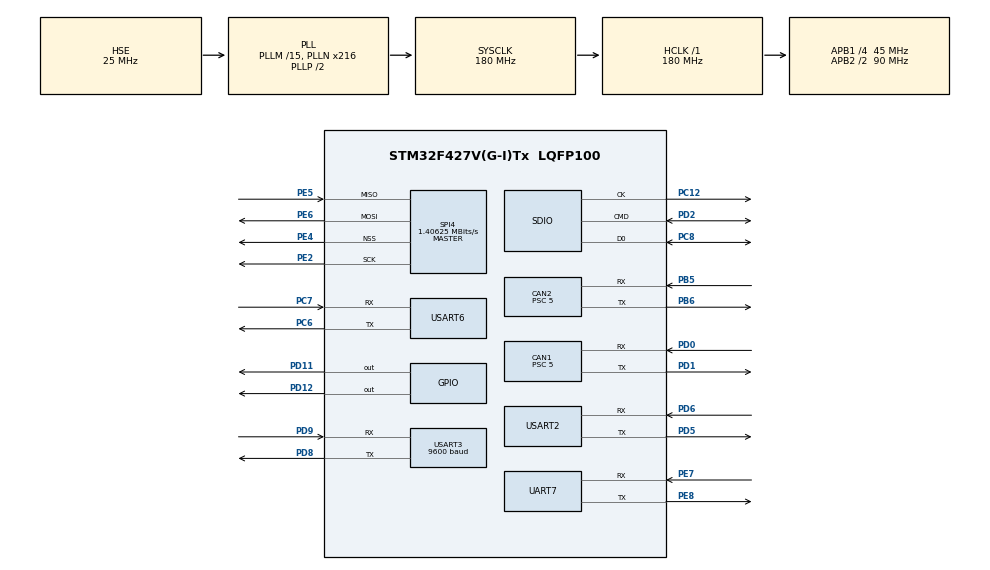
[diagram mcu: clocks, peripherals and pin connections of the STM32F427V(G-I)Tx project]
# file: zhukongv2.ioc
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CAN1.BS1=CAN_BS1_7TQ
CAN1.CalculateBaudRate=1000000
CAN1.CalculateTimeBit=1000
CAN1.CalculateTimeQuantum=111.11111111111111
CAN1.Prescaler=5
CAN1.RFLM=DISABLE
CAN2.BS1=CAN_BS1_7TQ
CAN2.CalculateBaudRate=1000000
CAN2.CalculateTimeBit=1000
CAN2.CalculateTimeQuantum=111.11111111111111
CAN2.Prescaler=5
CAN2.RFLM=DISABLE
Dma.Request0=USART6_RX
Dma.Request1=USART3_RX
Dma.USART3_RX.1.Direction=DMA_PERIPH_TO_MEMORY
Dma.USART3_RX.1.FIFOMode=DMA_FIFOMODE_DISABLE
Dma.USART3_RX.1.Instance=DMA1_Stream1
Dma.USART3_RX.1.MemDataAlignment=DMA_MDATAALIGN_BYTE
Dma.USART3_RX.1.MemInc=DMA_MINC_ENABLE
Dma.USART3_RX.1.Mode=DMA_CIRCULAR
Dma.USART3_RX.1.PeriphDataAlignment=DMA_PDATAALIGN_BYTE
Dma.USART3_RX.1.PeriphInc=DMA_PINC_DISABLE
Dma.USART3_RX.1.Priority=DMA_PRIORITY_LOW
Dma.USART6_RX.0.Direction=DMA_PERIPH_TO_MEMORY
Dma.USART6_RX.0.FIFOMode=DMA_FIFOMODE_DISABLE
Dma.USART6_RX.0.Instance=DMA2_Stream1
Dma.USART6_RX.0.MemDataAlignment=DMA_MDATAALIGN_BYTE
Dma.USART6_RX.0.MemInc=DMA_MINC_ENABLE
Dma.USART6_RX.0.Mode=DMA_CIRCULAR
Dma.USART6_RX.0.PeriphDataAlignment=DMA_PDATAALIGN_BYTE
Dma.USART6_RX.0.PeriphInc=DMA_PINC_DISABLE
Dma.USART6_RX.0.Priority=DMA_PRIORITY_LOW
FATFS._CODE_PAGE=936
FATFS._MAX_SS=4096
FATFS._USE_CHMOD=1
FATFS._USE_EXPAND=1
FATFS._USE_FIND=1
FATFS._USE_FORWARD=1
FATFS._USE_LABEL=1
FATFS._USE_LFN=2
FATFS._VOLUMES=2
FREERTOS.Tasks01=defaultTask,8,128,StartDefaultTask,Default,NULL,Dynamic,NULL,NULL;TrotForward,24,256,TrotForwardTask,Default,NULL,Dynamic,NULL,NULL;TrotBack,24,256,TrotBackTask,Default,NULL,Dynamic,NULL,NULL;RotateLeft,24,256,RotateLeftTask,Default,NULL,Dynamic,NULL,NULL;RotateRight,24,256,RotateRightTask,Default,NULL,Dynamic,NULL,NULL;TurnLeft,32,256,TurnLeftTask,Default,NULL,Dynamic,NULL,NULL;TurnRight,24,256,TurnRightTask,Default,NULL,Dynamic,NULL,NULL;JumpUp,24,256,JumpUpTask,Default,NULL,Dynamic,NULL,NULL;JumpForward,24,256,JumpForwardTask,Default,NULL,Dynamic,NULL,NULL;WalkSlope,24,512,WalkSlopeTask,Default,NULL,Dynamic,NULL,NULL;WalkSlope_LR,24,512,WalkSlopeLRTask,Default,NULL,Dynamic,NULL,NULL;Stand,24,128,StandTask,Default,NULL,Dynamic,NULL,NULL;ParseHandle,32,128,ParseHandleTask,Default,NULL,Dynamic,NULL,NULL;ParseIMU,32,128,ParseIMUTask,Default,NULL,Dynamic,NULL,NULL;ParseCamera,32,128,ParseCameraTask,Default,NULL,Dynamic,NULL,NULL
FREERTOS.configCHECK_FOR_STACK_OVERFLOW=2
FREERTOS.configTOTAL_HEAP_SIZE=20000
Mcu.Family=STM32F4
Mcu.Name=STM32F427V(G-I)Tx
Mcu.Package=LQFP100
NVIC.CAN1_RX0_IRQn=true\:5\:0\:false\:false\:true\:true\:true\:true\:true
NVIC.CAN1_RX1_IRQn=true\:5\:0\:false\:false\:true\:true\:true\:true\:true
NVIC.CAN2_RX0_IRQn=true\:5\:0\:false\:false\:true\:true\:true\:true\:true
NVIC.CAN2_RX1_IRQn=true\:5\:0\:false\:false\:true\:true\:true\:true\:true
NVIC.DMA1_Stream1_IRQn=true\:5\:0\:false\:false\:true\:true\:false\:true\:true
NVIC.DMA2_Stream1_IRQn=true\:5\:0\:false\:false\:true\:true\:false\:true\:true
NVIC.PriorityGroup=NVIC_PRIORITYGROUP_4
NVIC.SDIO_IRQn=true\:5\:0\:false\:false\:true\:true\:true\:true\:true
NVIC.SPI4_IRQn=true\:5\:0\:false\:false\:true\:true\:true\:true\:true
NVIC.TIM2_IRQn=true\:5\:0\:true\:false\:true\:true\:true\:true\:true
NVIC.USART2_IRQn=true\:5\:0\:false\:false\:true\:true\:true\:true\:true
NVIC.USART3_IRQn=true\:5\:0\:false\:false\:true\:true\:true\:true\:true
NVIC.USART6_IRQn=true\:5\:0\:false\:false\:true\:true\:true\:true\:true
PA13.Mode=Serial_Wire
PA13.Signal=SYS_JTMS-SWDIO
PA14.Mode=Serial_Wire
PA14.Signal=SYS_JTCK-SWCLK
PB5.GPIO_PuPd=GPIO_NOPULL
PB5.Mode=CAN_Activate
PB5.Signal=CAN2_RX
PB6.GPIO_PuPd=GPIO_NOPULL
PB6.Mode=CAN_Activate
PB6.Signal=CAN2_TX
PC12.Mode=SD_1_bit
PC12.Signal=SDIO_CK
PC6.Mode=Asynchronous
PC6.Signal=USART6_TX
PC7.Mode=Asynchronous
PC7.Signal=USART6_RX
PC8.Mode=SD_1_bit
PC8.Signal=SDIO_D0
PD0.GPIO_PuPd=GPIO_NOPULL
PD0.Mode=CAN_Activate
PD0.Signal=CAN1_RX
PD1.GPIO_PuPd=GPIO_NOPULL
PD1.Mode=CAN_Activate
PD1.Signal=CAN1_TX
PD11.GPIO_PuPd=GPIO_PULLDOWN
PD11.Signal=GPIO_Output
PD12.GPIO_PuPd=GPIO_PULLDOWN
PD12.Signal=GPIO_Output
PD2.Mode=SD_1_bit
PD2.Signal=SDIO_CMD
PD5.Mode=Asynchronous
PD5.Signal=USART2_TX
PD6.Mode=Asynchronous
PD6.Signal=USART2_RX
PD8.Mode=Asynchronous
PD8.Signal=USART3_TX
PD9.Mode=Asynchronous
PD9.Signal=USART3_RX
PE2.Mode=Full_Duplex_Master
PE2.Signal=SPI4_SCK
PE4.Mode=NSS_Signal_Hard_Output
PE4.Signal=SPI4_NSS
PE5.Mode=Full_Duplex_Master
PE5.Signal=SPI4_MISO
PE6.Mode=Full_Duplex_Master
PE6.Signal=SPI4_MOSI
PE7.Mode=Asynchronous
PE7.Signal=UART7_RX
PE8.Mode=Asynchronous
PE8.Signal=UART7_TX
PH0/OSC_IN.Mode=HSE-External-Oscillator
PH0/OSC_IN.Signal=RCC_OSC_IN
PH1/OSC_OUT.Mode=HSE-External-Oscillator
PH1/OSC_OUT.Signal=RCC_OSC_OUT
ProjectManager.HeapSize=0x200
ProjectManager.StackSize=0x400
ProjectManager.TargetToolchain=EWARM V8.32
RCC.48MHZClocksFreq_Value=45000000
RCC.AHBFreq_Value=180000000
RCC.APB1CLKDivider=RCC_HCLK_DIV4
RCC.APB1Freq_Value=45000000
RCC.APB1TimFreq_Value=90000000
RCC.APB2CLKDivider=RCC_HCLK_DIV2
RCC.APB2Freq_Value=90000000
RCC.APB2TimFreq_Value=180000000
RCC.CortexFreq_Value=180000000
RCC.HCLKFreq_Value=180000000
RCC.HSE_VALUE=25000000
RCC.HSI_VALUE=16000000
RCC.LSE_VALUE=32768
RCC.PLLM=15
RCC.PLLN=216
RCC.PLLQ=8
RCC.PLLSourceVirtual=RCC_PLLSOURCE_HSE
RCC.SYSCLKFreq_VALUE=180000000
RCC.SYSCLKSource=RCC_SYSCLKSOURCE_PLLCLK
RCC.VCOOutputFreq_Value=360000000
SPI4.BaudRatePrescaler=SPI_BAUDRATEPRESCALER_64
SPI4.CalculateBaudRate=1.40625 MBits/s
SPI4.Direction=SPI_DIRECTION_2LINES
SPI4.Mode=SPI_MODE_MASTER
SPI4.VirtualNSS=VM_NSSHARD
SPI4.VirtualType=VM_MASTER
TIM2.AutoReloadPreload=TIM_AUTORELOAD_PRELOAD_ENABLE
TIM2.Channel-Output\ Compare1\ No\ Output=TIM_CHANNEL_1
TIM2.Period=199
TIM2.Prescaler=89
UART7.VirtualMode=Asynchronous
USART2.VirtualMode=VM_ASYNC
USART3.BaudRate=9600
USART3.VirtualMode=VM_ASYNC
USART6.VirtualMode=VM_ASYNC
VP_FATFS_VS_Generic.Mode=User_defined
VP_FATFS_VS_SDIO.Mode=SDIO
VP_FREERTOS_VS_CMSIS_V2.Mode=CMSIS_V2
VP_TIM2_VS_no_output1.Mode=Output Compare1 No Output
board=custom

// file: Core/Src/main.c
/* USER CODE BEGIN Header */
/**
  ******************************************************************************
  * @file           : main.c
  * @brief          : Main program body
  ******************************************************************************
  * @attention
  *
  * Copyright (c) 2025 STMicroelectronics.
  * All rights reserved.
  *
  * This software is licensed under terms that can be found in the LICENSE file
  * in the root directory of this software component.
  * If no LICENSE file comes with this software, it is provided AS-IS.
  *
  ******************************************************************************
  */
/* USER CODE END Header */
#include "main.h"
#include "cmsis_os.h"
#include "can.h"
#include "dma.h"
#include "fatfs.h"
#include "sdio.h"
#include "spi.h"
#include "tim.h"
#include "usart.h"
#include "gpio.h"

/* USER CODE BEGIN Includes */

#include "DeepJ60_Motor.h"
#include "GaitController.h"
#include "Handle.h"
#include "imu.h"
#include "Camera.h"

/* USER CODE END Includes */

/* USER CODE BEGIN PV */

QueueHandle_t cmd_queue = NULL;
QueueHandle_t imu_queue = NULL;
QueueHandle_t camera_queue = NULL;

/* USER CODE END PV */

void SystemClock_Config(void);
void MX_FREERTOS_Init(void);

int main(void)
{

  /* MCU Configuration--------------------------------------------------------*/

  /* Reset of all peripherals, Initializes the Flash interface and the Systick. */
  HAL_Init();

  /* Configure the system clock */
  SystemClock_Config();

  /* Initialize all configured peripherals */
  MX_GPIO_Init();
  MX_DMA_Init();
  MX_CAN1_Init();
  MX_CAN2_Init();
  MX_SPI4_Init();
  MX_TIM2_Init();
  MX_SDIO_SD_Init();
  MX_FATFS_Init();
  MX_UART7_Init();
  MX_USART3_UART_Init();
  MX_USART6_UART_Init();
  MX_USART2_UART_Init();
  /* USER CODE BEGIN 2 */

  HAL_Delay(4000);

  EnableJ60Motor(&J60Motor_CAN1[0], 1, 1); // lf out
  EnableJ60Motor(&J60Motor_CAN1[1], 2, 1); // lf in
  EnableJ60Motor(&J60Motor_CAN2[0], 1, 2); // rb out
  EnableJ60Motor(&J60Motor_CAN2[1], 2, 2); // rb in

  HAL_Delay(1);
  RunJ60Motor(&J60Motor_CAN1[0], J60Motor_StandUpData_CAN1[0], 0, 0, 20, 5, PositionMode);
  HAL_Delay(1);
  RunJ60Motor(&J60Motor_CAN1[1], J60Motor_StandUpData_CAN1[1], 0, 0, 20, 5, PositionMode);
  HAL_Delay(1);
  RunJ60Motor(&J60Motor_CAN2[0], J60Motor_StandUpData_CAN2[0], 0, 0, 20, 5, PositionMode);
  HAL_Delay(1);
  RunJ60Motor(&J60Motor_CAN2[1], J60Motor_StandUpData_CAN2[1], 0, 0, 20, 5, PositionMode);

  HAL_Delay(2000);

  HAL_UARTEx_ReceiveToIdle_DMA(&huart3, (uint8_t*)dma_buffer, DMA_BUFFER_SIZE);
  // HAL_UARTEx_Receive_DMA(&huart6, (uint8_t*)dma_buffer, DMA_BUFFER_SIZE);
  // HAL_UART_Receive_IT(&huart2, (uint8_t*)rx_bytes, RX_BTYES_LENGTH);

  cmd_queue = xQueueCreate(10, sizeof(uint8_t) * HANDLE_DATA_SIZE);
  imu_queue = xQueueCreate(10, sizeof(uint8_t) * IMU_DATA_SIZE);
  camera_queue = xQueueCreate(10, sizeof(uint8_t) * RX_BTYES_LENGTH);

  /* USER CODE END 2 */

  /* Init scheduler */
  osKernelInitialize();

  /* Call init function for freertos objects (in cmsis_os2.c) */
  MX_FREERTOS_Init();

  /* Start scheduler */
  osKernelStart();

  /* We should never get here as control is now taken by the scheduler */

  /* Infinite loop */
  while (1)
  {

  }
}

void SystemClock_Config(void)
{
  RCC_OscInitTypeDef RCC_OscInitStruct = {0};
  RCC_ClkInitTypeDef RCC_ClkInitStruct = {0};

  /** Configure the main internal regulator output voltage
  */
  __HAL_RCC_PWR_CLK_ENABLE();
  __HAL_PWR_VOLTAGESCALING_CONFIG(PWR_REGULATOR_VOLTAGE_SCALE1);

  /** Initializes the RCC Oscillators according to the specified parameters
  * in the RCC_OscInitTypeDef structure.
  */
  RCC_OscInitStruct.OscillatorType = RCC_OSCILLATORTYPE_HSE;
  RCC_OscInitStruct.HSEState = RCC_HSE_ON;
  RCC_OscInitStruct.PLL.PLLState = RCC_PLL_ON;
  RCC_OscInitStruct.PLL.PLLSource = RCC_PLLSOURCE_HSE;
  RCC_OscInitStruct.PLL.PLLM = 15;
  RCC_OscInitStruct.PLL.PLLN = 216;
  RCC_OscInitStruct.PLL.PLLP = RCC_PLLP_DIV2;
  RCC_OscInitStruct.PLL.PLLQ = 8;
  if (HAL_RCC_OscConfig(&RCC_OscInitStruct) != HAL_OK)
  {
    Error_Handler();
  }

  /** Activate the Over-Drive mode
  */
  if (HAL_PWREx_EnableOverDrive() != HAL_OK)
  {
    Error_Handler();
  }

  /** Initializes the CPU, AHB and APB buses clocks
  */
  RCC_ClkInitStruct.ClockType = RCC_CLOCKTYPE_HCLK|RCC_CLOCKTYPE_SYSCLK
                              |RCC_CLOCKTYPE_PCLK1|RCC_CLOCKTYPE_PCLK2;
  RCC_ClkInitStruct.SYSCLKSource = RCC_SYSCLKSOURCE_PLLCLK;
  RCC_ClkInitStruct.AHBCLKDivider = RCC_SYSCLK_DIV1;
  RCC_ClkInitStruct.APB1CLKDivider = RCC_HCLK_DIV4;
  RCC_ClkInitStruct.APB2CLKDivider = RCC_HCLK_DIV2;

  if (HAL_RCC_ClockConfig(&RCC_ClkInitStruct, FLASH_LATENCY_5) != HAL_OK)
  {
    Error_Handler();
  }
}

void Error_Handler(void)
{
  __disable_irq();
  while (1)
  {
  }
}

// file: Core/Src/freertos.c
/* USER CODE BEGIN Header */
/**
  ******************************************************************************
  * File Name          : freertos.c
  * Description        : Code for freertos applications
  ******************************************************************************
  * @attention
  *
  * Copyright (c) 2025 STMicroelectronics.
  * All rights reserved.
  *
  * This software is licensed under terms that can be found in the LICENSE file
  * in the root directory of this software component.
  * If no LICENSE file comes with this software, it is provided AS-IS.
  *
  ******************************************************************************
  */
/* USER CODE END Header */

#include "FreeRTOS.h"
#include "task.h"
#include "main.h"
#include "cmsis_os.h"

/* USER CODE BEGIN Includes */

#include "GaitController.h"
#include "Handle.h"
#include "imu.h"
#include "Camera.h"
#include "math.h"

/* USER CODE END Includes */

/* USER CODE BEGIN PM */

#define START_ACTION 1
#define END_ACTION 0

#define INIT_TROT_LENGTH 0.2f
#define MAX_TROT_LENGTH 0.3f

/* USER CODE END PM */

/* USER CODE BEGIN Variables */

osThreadId_t TaskHandle = NULL;
int is_stack_overflow = 0;

float trot_length = INIT_TROT_LENGTH;

/* USER CODE END Variables */
/* Definitions for defaultTask */
osThreadId_t defaultTaskHandle;
const osThreadAttr_t defaultTask_attributes = {
  .name = "defaultTask",
  .stack_size = 128 * 4,
  .priority = (osPriority_t) osPriorityLow,
};
/* Definitions for TrotForward */
osThreadId_t TrotForwardHandle;
const osThreadAttr_t TrotForward_attributes = {
  .name = "TrotForward",
  .stack_size = 256 * 4,
  .priority = (osPriority_t) osPriorityNormal,
};
/* Definitions for TrotBack */
osThreadId_t TrotBackHandle;
const osThreadAttr_t TrotBack_attributes = {
  .name = "TrotBack",
  .stack_size = 256 * 4,
  .priority = (osPriority_t) osPriorityNormal,
};
/* Definitions for RotateLeft */
osThreadId_t RotateLeftHandle;
const osThreadAttr_t RotateLeft_attributes = {
  .name = "RotateLeft",
  .stack_size = 256 * 4,
  .priority = (osPriority_t) osPriorityNormal,
};
/* Definitions for RotateRight */
osThreadId_t RotateRightHandle;
const osThreadAttr_t RotateRight_attributes = {
  .name = "RotateRight",
  .stack_size = 256 * 4,
  .priority = (osPriority_t) osPriorityNormal,
};
/* Definitions for TurnLeft */
osThreadId_t TurnLeftHandle;
const osThreadAttr_t TurnLeft_attributes = {
  .name = "TurnLeft",
  .stack_size = 256 * 4,
  .priority = (osPriority_t) osPriorityAboveNormal,
};
/* Definitions for TurnRight */
osThreadId_t TurnRightHandle;
const osThreadAttr_t TurnRight_attributes = {
  .name = "TurnRight",
  .stack_size = 256 * 4,
  .priority = (osPriority_t) osPriorityNormal,
};
/* Definitions for JumpUp */
osThreadId_t JumpUpHandle;
const osThreadAttr_t JumpUp_attributes = {
  .name = "JumpUp",
  .stack_size = 256 * 4,
  .priority = (osPriority_t) osPriorityNormal,
};
/* Definitions for JumpForward */
osThreadId_t JumpForwardHandle;
const osThreadAttr_t JumpForward_attributes = {
  .name = "JumpForward",
  .stack_size = 256 * 4,
  .priority = (osPriority_t) osPriorityNormal,
};
/* Definitions for WalkSlope */
osThreadId_t WalkSlopeHandle;
const osThreadAttr_t WalkSlope_attributes = {
  .name = "WalkSlope",
  .stack_size = 512 * 4,
  .priority = (osPriority_t) osPriorityNormal,
};
/* Definitions for WalkSlope_LR */
osThreadId_t WalkSlope_LRHandle;
const osThreadAttr_t WalkSlope_LR_attributes = {
  .name = "WalkSlope_LR",
  .stack_size = 512 * 4,
  .priority = (osPriority_t) osPriorityNormal,
};
/* Definitions for Stand */
osThreadId_t StandHandle;
const osThreadAttr_t Stand_attributes = {
  .name = "Stand",
  .stack_size = 128 * 4,
  .priority = (osPriority_t) osPriorityNormal,
};
/* Definitions for ParseHandle */
osThreadId_t ParseHandleHandle;
const osThreadAttr_t ParseHandle_attributes = {
  .name = "ParseHandle",
  .stack_size = 128 * 4,
  .priority = (osPriority_t) osPriorityAboveNormal,
};
/* Definitions for ParseIMU */
osThreadId_t ParseIMUHandle;
const osThreadAttr_t ParseIMU_attributes = {
  .name = "ParseIMU",
  .stack_size = 128 * 4,
  .priority = (osPriority_t) osPriorityAboveNormal,
};
/* Definitions for ParseCamera */
osThreadId_t ParseCameraHandle;
const osThreadAttr_t ParseCamera_attributes = {
  .name = "ParseCamera",
  .stack_size = 128 * 4,
  .priority = (osPriority_t) osPriorityAboveNormal,
};

void StartDefaultTask(void *argument);
void TrotForwardTask(void *argument);
void TrotBackTask(void *argument);
void RotateLeftTask(void *argument);
void RotateRightTask(void *argument);
void TurnLeftTask(void *argument);
void TurnRightTask(void *argument);
void JumpUpTask(void *argument);
void JumpForwardTask(void *argument);
void WalkSlopeTask(void *argument);
void WalkSlopeLRTask(void *argument);
void StandTask(void *argument);
void ParseHandleTask(void *argument);
void ParseIMUTask(void *argument);
void ParseCameraTask(void *argument);

void MX_FREERTOS_Init(void); /* (MISRA C 2004 rule 8.1) */

/* Hook prototypes */
void vApplicationStackOverflowHook(xTaskHandle xTask, signed char *pcTaskName);

/* USER CODE BEGIN 4 */
void vApplicationStackOverflowHook(xTaskHandle xTask, signed char *pcTaskName)
{
   /* Run time stack overflow checking is performed if
   configCHECK_FOR_STACK_OVERFLOW is defined to 1 or 2. This hook function is
   called if a stack overflow is detected. */
   is_stack_overflow = 1;
   while (1);
}
/* USER CODE END 4 */

void MX_FREERTOS_Init(void) {

  /* Create the thread(s) */
  /* creation of defaultTask */
  defaultTaskHandle = osThreadNew(StartDefaultTask, NULL, &defaultTask_attributes);

  /* creation of TrotForward */
  TrotForwardHandle = osThreadNew(TrotForwardTask, NULL, &TrotForward_attributes);

  /* creation of TrotBack */
  TrotBackHandle = osThreadNew(TrotBackTask, NULL, &TrotBack_attributes);

  /* creation of RotateLeft */
  RotateLeftHandle = osThreadNew(RotateLeftTask, NULL, &RotateLeft_attributes);

  /* creation of RotateRight */
  RotateRightHandle = osThreadNew(RotateRightTask, NULL, &RotateRight_attributes);

  /* creation of TurnLeft */
  TurnLeftHandle = osThreadNew(TurnLeftTask, NULL, &TurnLeft_attributes);

  /* creation of TurnRight */
  TurnRightHandle = osThreadNew(TurnRightTask, NULL, &TurnRight_attributes);

  /* creation of JumpUp */
  JumpUpHandle = osThreadNew(JumpUpTask, NULL, &JumpUp_attributes);

  /* creation of JumpForward */
  JumpForwardHandle = osThreadNew(JumpForwardTask, NULL, &JumpForward_attributes);

  /* creation of WalkSlope */
  WalkSlopeHandle = osThreadNew(WalkSlopeTask, NULL, &WalkSlope_attributes);

  /* creation of WalkSlope_LR */
  WalkSlope_LRHandle = osThreadNew(WalkSlopeLRTask, NULL, &WalkSlope_LR_attributes);

  /* creation of Stand */
  StandHandle = osThreadNew(StandTask, NULL, &Stand_attributes);

  /* creation of ParseHandle */
  ParseHandleHandle = osThreadNew(ParseHandleTask, NULL, &ParseHandle_attributes);

  /* creation of ParseIMU */
  ParseIMUHandle = osThreadNew(ParseIMUTask, NULL, &ParseIMU_attributes);

  /* creation of ParseCamera */
  ParseCameraHandle = osThreadNew(ParseCameraTask, NULL, &ParseCamera_attributes);

}

void StartDefaultTask(void *argument)
{
  for(;;)
  {
    osDelay(1);
  }
}

void TrotForwardTask(void *argument)
{
  /* USER CODE BEGIN TrotForwardTask */

  const TickType_t freq = pdMS_TO_TICKS(10);
  TickType_t last_time = xTaskGetTickCount();
  uint32_t notify_value = 0;

  float coef = 0.35 / 125;  // max trot length = 0.5
  float coef_turn = 0.15 / 125;  // max difference length of two side is 0.15
  // float coef_camera = 0.00078;  // max difference length of two side is 0.1, while using camera
  int stage = 0;
  float trot_unit = 0.35 / 4;
  float trot_length_1 = trot_unit;
  int buttom_joystick = 0;
  float left_length = 0;
  float right_length = 0;

  float error_x = 0;
  float error_slope = 0;
  float coef_x = 0.15;
  float coef_slope = 0.1;
  float correct = 0;

  /* Infinite loop */
  for(;;)
  {
    if (xTaskNotifyWait(0, 0, &notify_value, 0) == pdTRUE) {
      if (notify_value == START_ACTION) {
        if (handle_command[0] == TROT_FORWARD_CMD) {
          if (turn_controller.turn_state == EndTurn) {
            turn_controller.turn_state = PreTurn;
            t = 0;
			      buttom_joystick = 0;
          }
        }
        else {
          if (turn_controller.turn_state == EndTurn) {
            turn_controller.turn_state = PreTurn;
            t = 0;
			      buttom_joystick = 1;
          }
        }
      }
      else if (notify_value == END_ACTION) {
        if (turn_controller.turn_state == Turning || trot_controller.trot_state == Trotting) {
          isStop = NEED_TO_STOP;
        }
      }
    }

    if (turn_controller.turn_state != EndTurn) {
      if (buttom_joystick == 1) {
        trot_length = coef * abs(handle_command[2] - 125);

        if (handle_command[3] - 125 > 0) {
          turn_controller.turn_angular_direction = TurnRight;
          left_length = trot_length + coef_turn * abs(handle_command[3] - 125) / 2;
          right_length = trot_length - coef_turn * abs(handle_command[3] - 125) / 2;
          Turn_FSM(&turn_controller, left_length, right_length, 0.03, robot_height);
        }
        else if (handle_command[3] - 125 < 0) {
          turn_controller.turn_angular_direction = TurnLeft;
          left_length = trot_length - coef_turn * abs(handle_command[3] - 125) / 2;
          right_length = trot_length + coef_turn * abs(handle_command[3] - 125) / 2;
          Turn_FSM(&turn_controller, left_length, right_length, 0.03, robot_height);
        }
        else {
          Turn_FSM(&turn_controller, trot_length, trot_length, 0.03, robot_height);
        }
      }
      else {
        // with camera
        // if (mid_value != -1 && slope != -1) {
        //   error_x = (mid_value - 127.5) / 127.5;  // error_x < 0: TurnLeft, error_x > 0: TurnRight
        //   error_slope = (slope - 127.5) / 127.5;  // error_slope < 0: TurnLeft, error_slope > 0: TurnRight
        //   // correct = coef_x * error_x + coef_slope * error_slope;
        //   correct = coef_x * error_x;
        //   left_length = trot_length_1 + correct / 2;
        //   right_length = trot_length_1 - correct / 2;
        // }

        // no camera
        left_length = trot_length_1;
        right_length = trot_length_1;

        // ---------------------------------------------------
        // turn_controller.turn_angular_direction = TurnLeft;
        if (turn_controller.turn_state == PreTurn) {
          Turn_FSM(&turn_controller, left_length, right_length, 0.03, robot_height);
          if (turn_controller.turn_state == Turning) {
            trot_length_1 += trot_unit;
          }
        }
        else {
          Turn_FSM(&turn_controller, left_length, right_length, 0.03, robot_height);
          if (t == 0) {
            if (stage == 0) {
              trot_length_1 += trot_unit;
              stage = 1;
            }
            else if (stage == 1) {
              trot_length_1 += trot_unit;
              stage = 2;
            }
          }
		      if (turn_controller.turn_state == EndTurn) {
            trot_length_1 = trot_unit;
            stage = 0;
          }
        }
      }

      if (turn_controller.turn_state != EndTurn) {
        vTaskDelayUntil(&last_time, freq);
        t += NORMAL_DELTA_T;
        if (t > 2000 && turn_controller.turn_state == Turning) {
          t = 0;
        }
      }
    }

    osDelay(1);
  }
  /* USER CODE END TrotForwardTask */
}

void TrotBackTask(void *argument)
{
  /* USER CODE BEGIN TrotBackTask */

  const TickType_t freq = pdMS_TO_TICKS(10);
  TickType_t last_time = xTaskGetTickCount();
  uint32_t notify_value = 0;
  float coef = 0.0016;

  /* Infinite loop */
  for(;;)
  {
    if (xTaskNotifyWait(0, 0, &notify_value, 0) == pdTRUE) {
      if (notify_value == START_ACTION) {
        if (trot_controller.trot_state == EndTrot) {
          trot_controller.trot_state = PreTrot;
          trot_controller.trot_direction = Back;
          t = 0;
        }
      }
      else if (notify_value == END_ACTION) {
        if (trot_controller.trot_state == Trotting) {
          isStop = NEED_TO_STOP;
        }
      }
    }

    if (trot_controller.trot_state != EndTrot) {
      if (handle_command[0] == TROT_BACK_CMD) {
        trot_length = 0.2;
        Trot_FSM(&trot_controller, 0.06, trot_length, robot_height);
      }
      else {
        Trot_FSM(&trot_controller, 0.06, (coef * abs(handle_command[2] - 125)), robot_height);
      }

      if (trot_controller.trot_state != EndTrot) {
        vTaskDelayUntil(&last_time, freq);
        t += NORMAL_DELTA_T;
        if (t > 2000 && trot_controller.trot_state == Trotting) {
          t = 0;
        }
      }
    }

    osDelay(1);
  }
  /* USER CODE END TrotBackTask */
}

void RotateLeftTask(void *argument)
{
  /* USER CODE BEGIN RotateLeftTask */

  const TickType_t freq = pdMS_TO_TICKS(10);
  TickType_t last_time = xTaskGetTickCount();
  uint32_t notify_value = 0;

  /* Infinite loop */
  for(;;)
  {
    if (xTaskNotifyWait(0, 0, &notify_value, 0) == pdTRUE) {
      if (notify_value == START_ACTION) {
        rotate_controller.rotate_state = PreRotate;
        rotate_controller.rotate_direction = Left;
        t = 0;
      }
      else if (notify_value == END_ACTION) {
        isStop = NEED_TO_STOP;
      }
    }

    if (rotate_controller.rotate_state != EndRotate) {
      Rotate_FSM(&rotate_controller, 0.03, 0.12, robot_height);

      if (rotate_controller.rotate_state != EndRotate) {
        vTaskDelayUntil(&last_time, freq);
        t += NORMAL_DELTA_T;
        if (t > 2000 && rotate_controller.rotate_state == Rotating) {
          t = 0;
        }
      }
    }

    osDelay(1);
  }
  /* USER CODE END RotateLeftTask */
}

void RotateRightTask(void *argument)
{
  /* USER CODE BEGIN RotateRightTask */

  const TickType_t freq = pdMS_TO_TICKS(10);
  TickType_t last_time = xTaskGetTickCount();
  uint32_t notify_value = 0;

  /* Infinite loop */
  for(;;)
  {
    if (xTaskNotifyWait(0, 0, &notify_value, 0) == pdTRUE) {
      if (notify_value == START_ACTION) {
        rotate_controller.rotate_state = PreRotate;
        rotate_controller.rotate_direction = Right;
        t = 0;
      }
      else if (notify_value == END_ACTION) {
        isStop = NEED_TO_STOP;
      }
    }

    if (rotate_controller.rotate_state != EndRotate) {
      Rotate_FSM(&rotate_controller, 0.03, 0.12, robot_height);

      if (rotate_controller.rotate_state != EndRotate) {
        vTaskDelayUntil(&last_time, freq);
        t += NORMAL_DELTA_T;
        if (t > 2000 && rotate_controller.rotate_state == Rotating) {
          t = 0;
        }
      }
    }

    osDelay(1);
  }
  /* USER CODE END RotateRightTask */
}

void TurnLeftTask(void *argument)
{
  /* USER CODE BEGIN TurnLeftTask */

  const TickType_t freq = pdMS_TO_TICKS(10);
  TickType_t last_time = xTaskGetTickCount();
  uint32_t notify_value = 0;

  /* Infinite loop */
  for(;;)
  {
    if (xTaskNotifyWait(0, 0, &notify_value, 0) == pdTRUE) {
      if (notify_value == START_ACTION) {
        turn_controller.turn_state = PreTurn;
        turn_controller.turn_angular_direction = TurnLeft;
        t = 0;
      }
      else if (notify_value == END_ACTION) {
        isStop = NEED_TO_STOP;
      }
    }

    if (turn_controller.turn_state != EndTurn) {
      Turn_FSM(&turn_controller, 0.04, 0.1, 0.03, robot_height);

      if (turn_controller.turn_state != EndTurn) {
        vTaskDelayUntil(&last_time, freq);
        t += NORMAL_DELTA_T;
        if (t > 2000 && turn_controller.turn_state == Turning) {
          t = 0;
        }
      }
    }

    osDelay(1);
  }
  /* USER CODE END TurnLeftTask */
}

void TurnRightTask(void *argument)
{
  /* USER CODE BEGIN TurnRightTask */

  const TickType_t freq = pdMS_TO_TICKS(10);
  TickType_t last_time = xTaskGetTickCount();
  uint32_t notify_value = 0;

  /* Infinite loop */
  for(;;)
  {
    if (xTaskNotifyWait(0, 0, &notify_value, 0) == pdTRUE) {
      if (notify_value == START_ACTION) {
        turn_controller.turn_state = PreTurn;
        turn_controller.turn_angular_direction = TurnRight;
        t = 0;
      }
      else if (notify_value == END_ACTION) {
        isStop = NEED_TO_STOP;
      }
    }

    if (turn_controller.turn_state != EndTurn) {
      Turn_FSM(&turn_controller, 0.04, 0.1, 0.03, robot_height);

      if (turn_controller.turn_state != EndTurn) {
        vTaskDelayUntil(&last_time, freq);
        t += NORMAL_DELTA_T;
        if (t > 2000 && turn_controller.turn_state == Turning) {
          t = 0;
        }
      }
    }

    osDelay(1);
  }
  /* USER CODE END TurnRightTask */
}

void JumpUpTask(void *argument)
{
  /* USER CODE BEGIN JumpUpTask */

  const TickType_t freq = pdMS_TO_TICKS(10);
  TickType_t last_time = xTaskGetTickCount();
  uint32_t notify_value = 0;

  /* Infinite loop */
  for(;;)
  {
    if (xTaskNotifyWait(0, 0, &notify_value, 0) == pdTRUE) {
      if (notify_value == START_ACTION) {
        jump_up_controller.jump_state = Squat;
        t = 0;
      }
    }

    if (jump_up_controller.jump_state != EndJump) {
      JumpUp_FSM(&jump_up_controller);

      if (jump_up_controller.jump_state != EndJump && jump_up_controller.jump_state != Land && jump_up_controller.jump_state != JumpUp) {
        vTaskDelayUntil(&last_time, freq);
        t += NORMAL_DELTA_T;
      }
    }

    osDelay(1);
  }
  /* USER CODE END JumpUpTask */
}

void JumpForwardTask(void *argument)
{
  /* USER CODE BEGIN JumpForwardTask */

  const TickType_t freq = pdMS_TO_TICKS(10);
  TickType_t last_time = xTaskGetTickCount();
  uint32_t notify_value = 0;

  /* Infinite loop */
  for(;;)
  {
    if (xTaskNotifyWait(0, 0, &notify_value, 0) == pdTRUE) {
      if (notify_value == START_ACTION) {
        jump_forward_controller.jump_state = Squat;
        t = 0;
      }
    }

    if (jump_forward_controller.jump_state != EndJump) {
      JumpForward_FSM(&jump_forward_controller);

      if (jump_forward_controller.jump_state != EndJump && jump_forward_controller.jump_state != Land && jump_forward_controller.jump_state != JumpUp) {
        vTaskDelayUntil(&last_time, freq);
        t += NORMAL_DELTA_T;
      }
    }

    osDelay(1);
  }
  /* USER CODE END JumpForwardTask */
}

void WalkSlopeTask(void *argument)
{
  /* USER CODE BEGIN WalkSlopeTask */

  const TickType_t freq = pdMS_TO_TICKS(10);
  TickType_t last_time = xTaskGetTickCount();
  uint32_t notify_value = 0;

  /* Infinite loop */
  for(;;)
  {
    if (xTaskNotifyWait(0, 0, &notify_value, 0) == pdTRUE) {
      if (notify_value == START_ACTION) {
        walk_slope_controller.trot_state = PreTrot;
        walk_slope_controller.trot_direction = Forward;
        t = 0;
      }
      else if (notify_value == END_ACTION) {
        isStop = NEED_TO_STOP;
      }
    }

    if (walk_slope_controller.trot_state != EndTrot) {
      WalkSlope_FSM(&walk_slope_controller, (1.0 / 3), 0.4, robot_height, 0.12, 0.04);

      if (walk_slope_controller.trot_state != EndTrot) {
        vTaskDelayUntil(&last_time, freq);
        t += NORMAL_DELTA_T;
        if (t > 2000 && walk_slope_controller.trot_state == Trotting) {
          t = 0;
        }
      }
    }

    osDelay(1);
  }
  /* USER CODE END WalkSlopeTask */
}

void WalkSlopeLRTask(void *argument)
{
  /* USER CODE BEGIN WalkSlopeLRTask */

  const TickType_t freq = pdMS_TO_TICKS(10);
  TickType_t last_time = xTaskGetTickCount();
  uint32_t notify_value = 0;

  /* Infinite loop */
  for(;;)
  {
    if (xTaskNotifyWait(0, 0, &notify_value, 0) == pdTRUE) {
      if (notify_value == START_ACTION) {
        walk_LR_slope_controller.trot_state = PreTrot;
        walk_LR_slope_controller.trot_direction = Forward;
        t = 0;
      }
      else if (notify_value == END_ACTION) {
        isStop = NEED_TO_STOP;
      }
    }

    if (walk_LR_slope_controller.trot_state != EndTrot) {
      WalkSlope_LR_FSM(&walk_LR_slope_controller, 0.268, 0.4, robot_height, 0.12, 0.09378);

      if (walk_LR_slope_controller.trot_state != EndTrot) {
        vTaskDelayUntil(&last_time, freq);
        t += NORMAL_DELTA_T;
        if (t > 2000 && walk_LR_slope_controller.trot_state == Trotting) {
          t = 0;
        }
      }
    }

    osDelay(1);
  }
  /* USER CODE END WalkSlopeLRTask */
}

void StandTask(void *argument)
{
  /* USER CODE BEGIN StandTask */
  /* Infinite loop */
  for(;;)
  {
    if (trot_controller.trot_state == EndTrot && rotate_controller.rotate_state == EndRotate &&
        jump_up_controller.jump_state == EndJump && jump_forward_controller.jump_state == EndJump &&
        turn_controller.turn_state == EndTurn && walk_slope_controller.trot_state == EndTrot &&
        walk_LR_slope_controller.trot_state == EndTrot) {

      if (isSlope == NO_SLOPE) {
        Stand();
      }
      else if (isSlope == SLOPE) {
        Stand_on_slope(tan_slope_theta);
      }
      else if (isSlope == SLOPE_LR) {
        Stand_on_LR_slope(tan_LR_slope_theta);
      }
    }

    osDelay(10);
  }
  /* USER CODE END StandTask */
}

void ParseHandleTask(void *argument)
{
  /* USER CODE BEGIN ParseHandleTask */

  uint8_t rx_cmd[HANDLE_DATA_SIZE];
  uint8_t last_handle_command[CMD_SIZE] = {0};

  /* Infinite loop */
  for(;;)
  {
    if (xQueueReceive(cmd_queue, rx_cmd, portMAX_DELAY) == pdPASS) {
      if (CheckRxData(rx_cmd) == CMD_NORMAL) {
        ParseHandle(rx_cmd, handle_command);

        if (CompareCommand(last_handle_command, handle_command) != 0) {
          if ((handle_command[0] == TROT_FORWARD_CMD && (handle_command[1] == NO_CMD || handle_command[1] == TO_FASTEST)) ||
              (handle_command[2] - 125 < 0 && handle_command[1] == NO_CMD)) {
            TaskHandle = TrotForwardHandle;
            xTaskNotify((TaskHandle_t)TrotForwardHandle, START_ACTION, eSetValueWithOverwrite);
          }
          else if ((handle_command[0] == TROT_BACK_CMD && handle_command[1] == NO_CMD) ||
                   (handle_command[2] - 125 > 0 && handle_command[1] == NO_CMD)) {
            TaskHandle = TrotBackHandle;
            xTaskNotify((TaskHandle_t)TrotBackHandle, START_ACTION, eSetValueWithOverwrite);
          }
          else if (handle_command[0] == ROTATE_LEFT_CMD && handle_command[1] == NO_CMD) {
            TaskHandle = RotateLeftHandle;
            xTaskNotify((TaskHandle_t)RotateLeftHandle, START_ACTION, eSetValueWithOverwrite);
          }
          else if (handle_command[0] == ROTATE_RIGHT_CMD && handle_command[1] == NO_CMD) {
            TaskHandle = RotateRightHandle;
            xTaskNotify((TaskHandle_t)RotateRightHandle, START_ACTION, eSetValueWithOverwrite);
          }
          else if (handle_command[0] == TURN_LEFT_CMD && handle_command[1] == NO_CMD) {
            TaskHandle = TurnLeftHandle;
            xTaskNotify((TaskHandle_t)TurnLeftHandle, START_ACTION, eSetValueWithOverwrite);
          }
          else if (handle_command[0] == TURN_RIGHT_CMD && handle_command[1] == NO_CMD) {
            TaskHandle = TurnRightHandle;
            xTaskNotify((TaskHandle_t)TurnRightHandle, START_ACTION, eSetValueWithOverwrite);
          }
          else if (handle_command[0] == JUMP_UP_CMD && handle_command[1] == NO_CMD) {
            TaskHandle = JumpUpHandle;
            xTaskNotify((TaskHandle_t)JumpUpHandle, START_ACTION, eSetValueWithOverwrite);
          }
          else if (handle_command[0] == JUMP_FORWARD_CMD && handle_command[1] == NO_CMD) {
            TaskHandle = JumpForwardHandle;
            xTaskNotify((TaskHandle_t)JumpForwardHandle, START_ACTION, eSetValueWithOverwrite);
          }
          else if (handle_command[0] == TROT_FORWARD_CMD && handle_command[1] == SLOPE_CMD) {
            TaskHandle = WalkSlopeHandle;
            xTaskNotify((TaskHandle_t)WalkSlopeHandle, START_ACTION, eSetValueWithOverwrite);
          }
          else if (handle_command[0] == TROT_FORWARD_CMD && handle_command[1] == SLOPE_LR_CMD) {
            TaskHandle = WalkSlope_LRHandle;
            xTaskNotify((TaskHandle_t)WalkSlope_LRHandle, START_ACTION, eSetValueWithOverwrite);
          }
          else if (handle_command[0] == STOP_CMD && handle_command[1] == BECOME_HIGHER) {
            robot_height += 0.01;
            TaskHandle = NULL;
          }
          else if (handle_command[0] == STOP_CMD && handle_command[1] == BECOME_LOWWER) {
            robot_height -= 0.01;
            TaskHandle = NULL;
          }
          else if (handle_command[0] == STOP_CMD && handle_command[1] == SLOPE_CMD) {
            if (isSlope != SLOPE) {
              isSlope = SLOPE;
            }
            else {
              xTaskNotify((TaskHandle_t)WalkSlopeHandle, END_ACTION, eSetValueWithOverwrite);
            }
          }
          else if (handle_command[0] == STOP_CMD && handle_command[1] == SLOPE_LR_CMD) {
            if (isSlope != SLOPE_LR) {
              isSlope = SLOPE_LR;
            }
            else {
              xTaskNotify((TaskHandle_t)WalkSlope_LRHandle, END_ACTION, eSetValueWithOverwrite);
            }
          }
          else if (handle_command[0] == STOP_CMD && handle_command[1] == TO_FASTEST) {
            if (trot_length != MAX_TROT_LENGTH) {
              trot_length = MAX_TROT_LENGTH;
            }
            else {
              if (TaskHandle != NULL) {
                xTaskNotify((TaskHandle_t)TaskHandle, END_ACTION, eSetValueWithOverwrite);
              }
            }
          }
          else if ((handle_command[0] == STOP_CMD && handle_command[1] == NO_CMD) ||
                   (handle_command[2] == 125 && handle_command[1] == NO_CMD)) {
            if (trot_length != INIT_TROT_LENGTH) {
              trot_length = INIT_TROT_LENGTH;
            }
            else if (isSlope != NO_SLOPE) {
              isSlope = NO_SLOPE;
            }
            else {
              if (TaskHandle != NULL) {
                xTaskNotify((TaskHandle_t)TaskHandle, END_ACTION, eSetValueWithOverwrite);
              }
            }
          }
        }

        memcpy(last_handle_command, handle_command, sizeof(handle_command));
      }
    }

    osDelay(1);
  }
  /* USER CODE END ParseHandleTask */
}

void ParseIMUTask(void *argument)
{
  for(;;)
  {
    osDelay(1);
  }
}

void ParseCameraTask(void *argument)
{
  /* USER CODE BEGIN ParseCameraTask */
  /* Infinite loop */
  for(;;)
  {
    if (check_rx_bytes(rx_bytes)) {
      parse_camera_bytes(rx_bytes);
    }
    osDelay(1);
  }
  /* USER CODE END ParseCameraTask */
}
